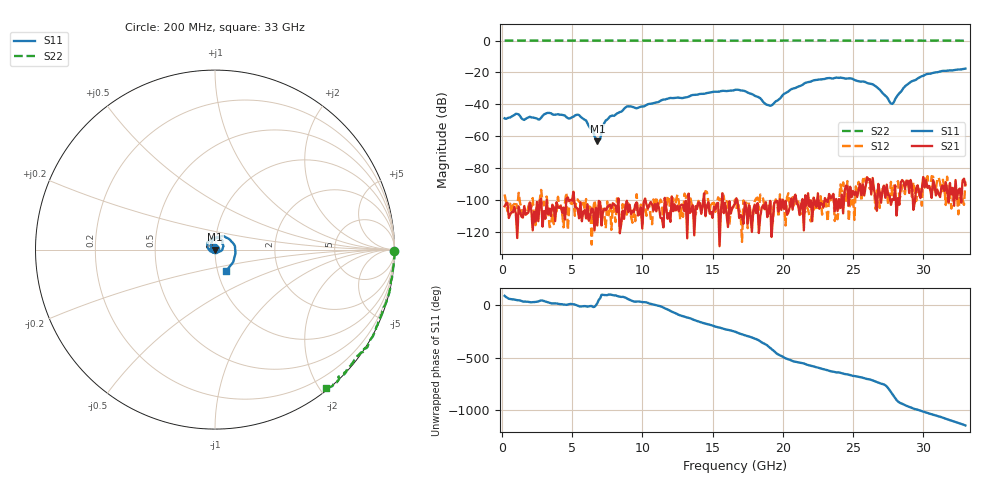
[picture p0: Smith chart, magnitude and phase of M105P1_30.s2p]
# GHZ S RI R 50
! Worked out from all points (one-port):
!   329 points, 200 MHz to 33 GHz, reference 50 ohm
!   lowest |S11| = -63.2 dB at 6.8 GHz (marker M1), VSWR 1.00, Z = 50.1 + j0.0192 ohm
!   |S11| at or under -10 dB: start of sweep to end of sweep
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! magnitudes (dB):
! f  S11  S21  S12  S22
! 200 MHz  -48.7  -103.9  -96.5  0.0
! 1 GHz  -45.9  -108.5  -100.9  0.0
! 2.6 GHz  -49.5  -113.2  -106.2  0.0
! 3.3 GHz  -45.3  -108.9  -106.0  0.0
! 5.7 GHz  -48.5  -113.3  -104.5  0.0
! 6.8 GHz  -63.2  -115.9  -104.2  0.0
! 7 GHz  -61.8  -101.2  -102.6  0.0
! 7.3 GHz  -51.6  -105.3  -108.8  0.0
! 7.7 GHz  -47.6  -103.0  -102.9  0.0
! 8.9 GHz  -41.4  -100.5  -109.1  0.0
! 11.2 GHz  -38.3  -105.3  -102.0  0.0
! 16.6 GHz  -30.9  -101.9  -99.7  0.0
! 19.1 GHz  -40.9  -100.5  -100.7  0.0
! 20.6 GHz  -30.5  -99.0  -104.0  0.0
! 22.1 GHz  -25.3  -113.2  -106.2  0.0
! 25.8 GHz  -25.8  -97.1  -85.0  -0.1
! 26.7 GHz  -29.2  -106.7  -94.8  -0.1
! 27.6 GHz  -38.3  -97.1  -100.6  -0.1
! 27.8 GHz  -39.7  -99.3  -97.0  -0.1
! 28.7 GHz  -28.7  -93.1  -96.2  0.0
! 30.2 GHz  -21.2  -87.4  -88.0  -0.1
! 33 GHz  -17.6  -90.4  -88.3  -0.1
